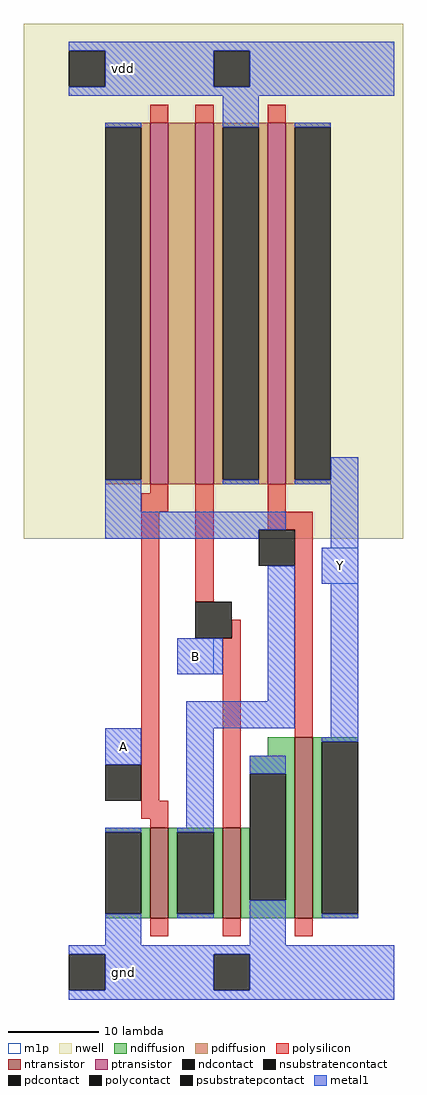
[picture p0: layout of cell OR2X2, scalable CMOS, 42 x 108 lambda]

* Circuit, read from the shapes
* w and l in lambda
.subckt OR2X2 A B Y vdd gnd
M1 n1 A gnd gnd nfet w=10 l=2
M2 gnd B n1 gnd nfet w=10 l=2
M3 Y n1 gnd gnd nfet w=20 l=2
M4 n2 A n1 vdd pfet w=40 l=2
M5 vdd B n2 vdd pfet w=40 l=2
M6 Y n1 vdd vdd pfet w=40 l=2
.ends

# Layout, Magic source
magic
tech scmos
magscale 1 2
<< nwell >>
rect -14 96 70 210
<< ntransistor >>
rect 14 12 18 32
rect 30 12 34 32
rect 46 12 50 52
<< ptransistor >>
rect 14 108 18 188
rect 24 108 28 188
rect 40 108 44 188
<< ndiffusion >>
rect 40 48 46 52
rect 36 44 46 48
rect 4 31 14 32
rect 12 13 14 31
rect 4 12 14 13
rect 18 31 30 32
rect 18 13 20 31
rect 28 13 30 31
rect 18 12 30 13
rect 34 16 36 32
rect 44 16 46 44
rect 34 12 46 16
rect 50 51 60 52
rect 50 13 52 51
rect 50 12 60 13
<< pdiffusion >>
rect 4 187 14 188
rect 12 109 14 187
rect 4 108 14 109
rect 18 108 24 188
rect 28 187 40 188
rect 28 109 30 187
rect 38 109 40 187
rect 28 108 40 109
rect 44 187 54 188
rect 44 109 46 187
rect 44 108 54 109
<< ndcontact >>
rect 4 13 12 31
rect 20 13 28 31
rect 36 16 44 44
rect 52 13 60 51
<< pdcontact >>
rect 4 109 12 187
rect 30 109 38 187
rect 46 109 54 187
<< psubstratepcontact >>
rect -4 -4 4 4
rect 28 -4 36 4
<< nsubstratencontact >>
rect -4 196 4 204
rect 28 196 36 204
<< polysilicon >>
rect 14 188 18 192
rect 24 188 28 192
rect 40 188 44 192
rect 14 106 18 108
rect 12 102 18 106
rect 12 38 16 102
rect 24 82 28 108
rect 40 102 44 108
rect 40 98 50 102
rect 32 74 34 78
rect 12 34 18 38
rect 14 32 18 34
rect 30 32 34 74
rect 46 52 50 98
rect 14 8 18 12
rect 30 8 34 12
rect 46 8 50 12
<< polycontact >>
rect 4 38 12 46
rect 38 90 46 98
rect 24 74 32 82
<< metal1 >>
rect -4 204 68 206
rect 4 196 28 204
rect 36 196 68 204
rect -4 194 68 196
rect 4 187 12 188
rect 4 102 12 109
rect 30 187 38 194
rect 30 108 38 109
rect 46 187 54 188
rect 54 109 60 114
rect 46 108 60 109
rect 4 98 44 102
rect 4 96 38 98
rect 54 94 60 108
rect 20 66 30 74
rect 40 60 46 90
rect 52 86 60 94
rect 22 54 46 60
rect 4 46 12 54
rect 22 32 28 54
rect 54 52 60 86
rect 52 51 60 52
rect 4 31 12 32
rect 4 6 12 13
rect 20 31 28 32
rect 20 12 28 13
rect 36 44 44 48
rect 36 6 44 16
rect 52 12 60 13
rect -4 4 68 6
rect 4 -4 28 4
rect 36 -4 68 4
rect -4 -6 68 -4
<< m1p >>
rect 52 86 60 94
rect 20 66 28 74
rect 4 46 12 54
<< labels >>
rlabel metal1 56 90 56 90 4 Y
port 3 se
rlabel metal1 24 70 24 70 4 B
port 2 se
rlabel metal1 8 200 8 200 4 vdd
port 4 se
rlabel metal1 8 0 8 0 4 gnd
port 5 se
rlabel metal1 8 50 8 50 4 A
port 1 se
<< end >>
